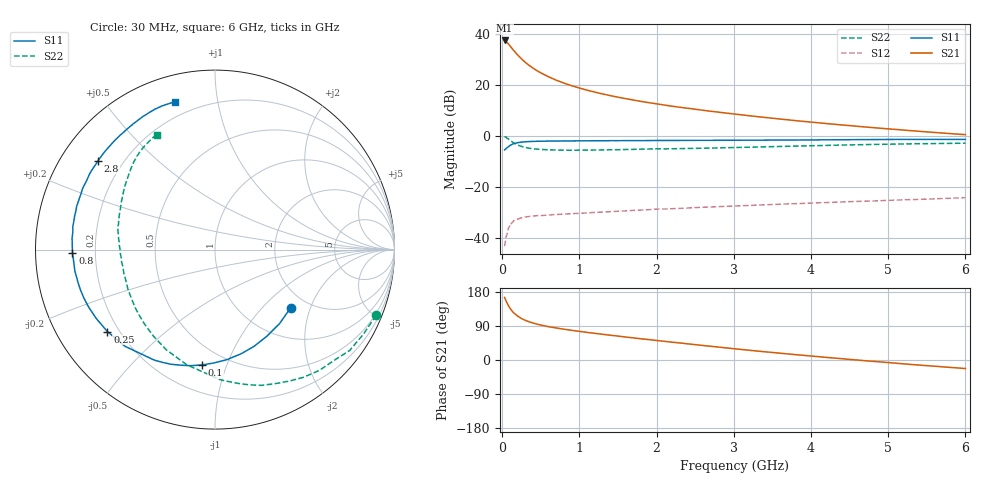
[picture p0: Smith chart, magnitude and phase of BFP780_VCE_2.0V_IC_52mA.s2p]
! Infineon Technologies  Discrete & RF Semiconductors
! BFP780
! VCE =  2.0 V,  IC =  52 mA
! Common Emitter S-Parameters:  Jul 2015
# GHz  S  MA  R  50
!  f  S11  S21  S12  S22
! GHz  MAG  ANG  MAG  ANG  MAG  ANG  MAG  ANG
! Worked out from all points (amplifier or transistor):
!   75 points, 30 MHz to 6 GHz, reference 50 ohm
!   highest |S21| = 37.4 dB at 30 MHz (marker M1)
!   |S21| within 3 dB of that: start of sweep to 122.5 MHz
!   unconditionally stable (mu >= 1): 2.04 GHz to end of sweep
!   at 150 MHz: K = 0.12, MSG = 33.3 dB, |S12| = -33.2 dB
!   at 2.3 GHz: K = 1.08, MAG = 18.1 dB, |S12| = -28.4 dB
!   at 6 GHz: K = 1.39, MAG = 8.6 dB, |S12| = -24.2 dB
!   S11 on the Smith chart (normalised r, x): 30 MHz: 1.63, -1.47; 100 MHz: 0.37, -0.82; 250 MHz: 0.16, -0.33; 800 MHz: 0.11, -0.01; 2.8 GHz: 0.11, +0.33; 6 GHz: 0.13, +0.76
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0.03  0.5317 -37.7  73.9 164.9  0.0069 80.0  0.9691 -22.2
0.05  0.5626 -59.1  70.08 155.3  0.0108 60.6  0.9375 -36.8
0.06  0.5813 -68.0  67.81 151.2  0.0115 59.1  0.906 -43.0
0.08  0.6163 -83.6  62.82 143.4  0.0159 56.2  0.8659 -55.2
0.1  0.6466 -96.4  57.66 136.8  0.0182 51.3  0.818 -66.0
0.12  0.6725 -106.8  52.87 131.1  0.0197 45.6  0.7782 -75.6
0.15  0.7027 -118.9  46.56 124.2  0.0218 38.8  0.725 -87.8
0.2  0.7361 -133.0  38.16 115.6  0.0234 33.7  0.6605 -103.8
0.25  0.7536 -142.7  32.06 109.3  0.0248 29.9  0.6208 -115.9
0.3  0.7651 -150.0  27.39 104.5  0.0258 26.6  0.5914 -125.5
0.35  0.7734 -155.5  23.87 100.6  0.0264 24.0  0.5721 -133.0
0.45  0.7823 -163.3  18.9 94.6  0.0273 21.7  0.5496 -144.1
0.6  0.7899 -171.4  14.33 88.0  0.0281 19.7  0.5329 -155.6
0.8  0.7946 -178.8  10.78 81.3  0.0294 19.3  0.5244 -165.5
1.1  0.7981 172.9  7.829 72.8  0.0309 19.7  0.5247 -175.5
1.5  0.8042 164.6  5.715 63.1  0.0334 20.1  0.5355 175.5
2.1  0.8123 154.0  4.012 49.3  0.0369 20.5  0.5555 165.5
2.8  0.8185 142.7  2.912 34.1  0.041 19.5  0.5803 154.5
3.1  0.8217 138.1  2.577 27.8  0.0429 19.0  0.5947 150.0
4.1  0.8337 124.2  1.799 8.7  0.0489 16.3  0.6445 137.3
5.1  0.8509 113.2  1.334 -8.5  0.055 13.0  0.6896 126.6
6  0.8525 105.2  1.056 -22.6  0.0615 8.5  0.719 116.9
